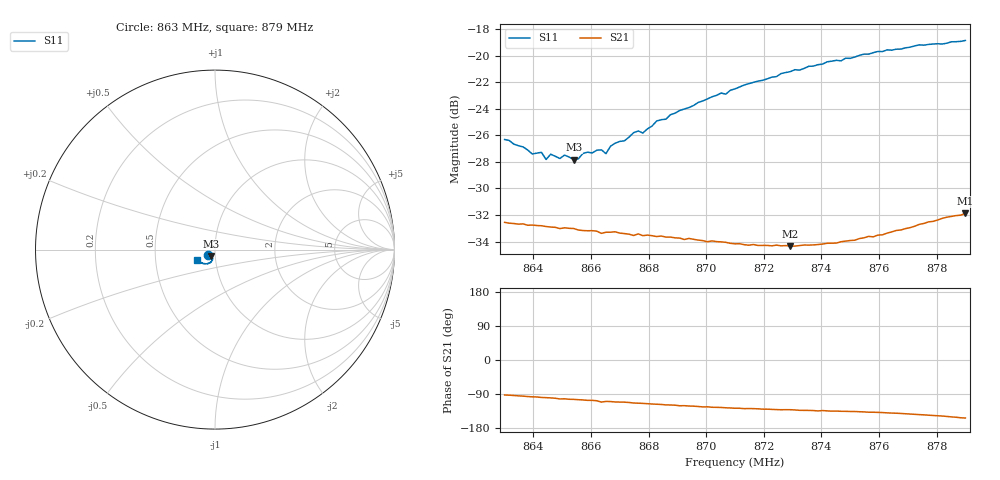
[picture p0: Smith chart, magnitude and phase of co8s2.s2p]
# HZ S RI R 50
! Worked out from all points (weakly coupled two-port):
!   101 points, 863 MHz to 879 MHz, reference 50 ohm
!   highest |S21| = -31.87 dB at 879 MHz (marker M1); lowest = -34.4 dB at 872.92 MHz (marker M2)
!   lowest |S11| = -27.8 dB at 865.4 MHz (marker M3), VSWR 1.08, Z = 47.9 - j3.35 ohm
!   |S11| at or under -10 dB: start of sweep to end of sweep
!   S12 and S22 are empty: the file has one direction only
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8.63e8  -0.0381 -0.0298  -0.00096 -0.0235  0 0  0 0
8.6396e8  -0.0295 -0.0307  -0.00288 -0.0228  0 0  0 0
8.6428e8  -0.0277 -0.0332  -0.00353 -0.0226  0 0  0 0
8.6444e8  -0.0263 -0.031  -0.00369 -0.0224  0 0  0 0
8.646e8  -0.0272 -0.0328  -0.00392 -0.0223  0 0  0 0
8.6508e8  -0.0232 -0.0353  -0.00483 -0.022  0 0  0 0
8.654e8  -0.0207 -0.035  -0.00535 -0.0217  0 0  0 0
8.6556e8  -0.02 -0.0356  -0.00561 -0.0213  0 0  0 0
8.6572e8  -0.0195 -0.0382  -0.00581 -0.0212  0 0  0 0
8.6636e8  -0.0169 -0.0409  -0.00771 -0.02  0 0  0 0
8.6652e8  -0.0175 -0.039  -0.00715 -0.0204  0 0  0 0
8.6668e8  -0.0155 -0.043  -0.00728 -0.0204  0 0  0 0
8.6684e8  -0.0158 -0.0441  -0.00768 -0.0203  0 0  0 0
8.6716e8  -0.0141 -0.0457  -0.00775 -0.0199  0 0  0 0
8.6748e8  -0.0145 -0.0492  -0.00837 -0.0193  0 0  0 0
8.678e8  -0.013 -0.0495  -0.0087 -0.0191  0 0  0 0
8.6844e8  -0.0145 -0.0556  -0.0096 -0.0186  0 0  0 0
8.71e8  -0.0248 -0.0708  -0.0118 -0.0156  0 0  0 0
8.7292e8  -0.0395 -0.0776  -0.0126 -0.0144  0 0  0 0
8.7372e8  -0.0459 -0.079  -0.0133 -0.0141  0 0  0 0
8.7644e8  -0.0737 -0.0747  -0.0166 -0.0139  0 0  0 0
8.79e8  -0.0995 -0.056  -0.0227 -0.0115  0 0  0 0
